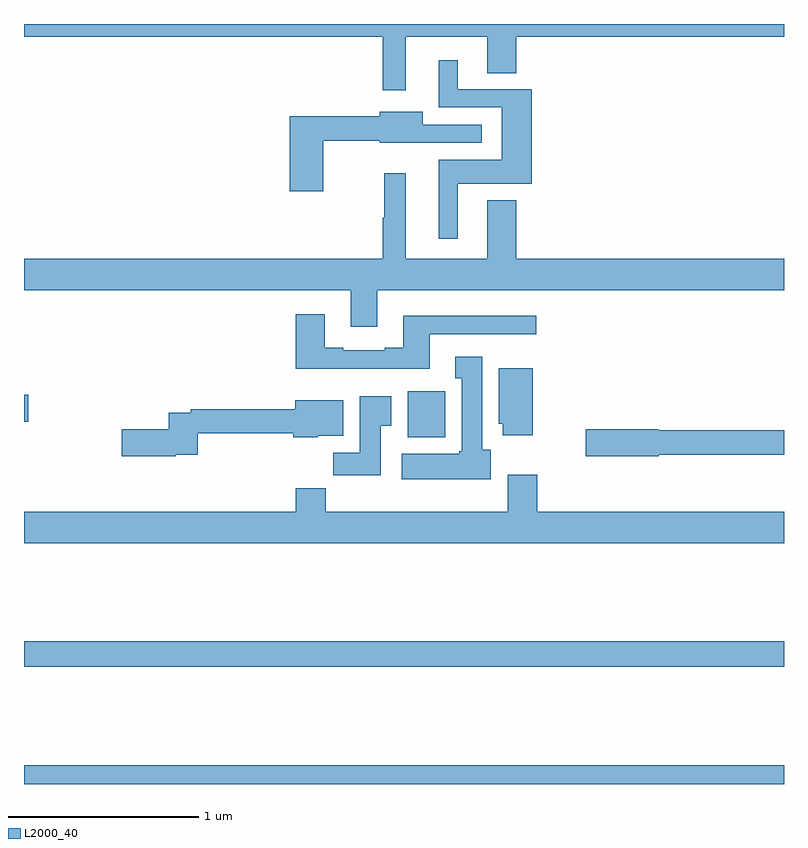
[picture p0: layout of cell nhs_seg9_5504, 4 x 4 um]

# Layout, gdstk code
import gdstk
lib = gdstk.Library(unit=1e-6, precision=1e-09)
def R(c, l, rs):  # rectangles x0, y0, x1, y1
    for r in rs: c.add(gdstk.rectangle(r[:2], r[2:], *l))
def P(c, l, *ps):  # polygons
    for p in ps: c.add(gdstk.Polygon(p, *l))
L2000_40 = (2000, 40)

nhs_seg9_5504 = lib.new_cell('nhs_seg9_5504')
R(nhs_seg9_5504, L2000_40, [(431,1180.5,435,1180.6), (431,1181.116,435,1181.252), (433.019,1182.326,433.216,1182.568), (431,1182.406,431.023,1182.548)])
P(nhs_seg9_5504, L2000_40, [(433.009,1184.432),(433.439,1184.432),(433.439,1184.242),(433.592,1184.242),(433.592,1184.432),(435,1184.432),(435,1184.5),(431,1184.5),(431,1184.432),(432.888,1184.432),(432.888,1184.151),(433.009,1184.151)],
  [(433.282,1183.658),(433.673,1183.658),(433.673,1184.157),(433.282,1184.157),(433.282,1184.308),(433.184,1184.308),(433.184,1184.061),(433.514,1184.061),(433.514,1183.786),(433.184,1183.786),(433.184,1183.371),(433.282,1183.371)],
  [(432.576,1183.885),(432.872,1183.885),(432.872,1183.874),(433.095,1183.874),(433.095,1183.875),(433.408,1183.875),(433.408,1183.971),(433.099,1183.971),(433.099,1184.038),(432.872,1184.038),(432.872,1184.014),(432.398,1184.014),(432.398,1183.62),(432.576,1183.62)],
  [(432.859,1183.1),(435,1183.1),(435,1183.264),(433.592,1183.264),(433.592,1183.573),(433.439,1183.573),(433.439,1183.264),(433.009,1183.264),(433.009,1183.714),(432.895,1183.714),(432.895,1183.481),(432.888,1183.481),(432.888,1183.264),(431,1183.264),(431,1183.1),(432.719,1183.1),(432.719,1182.906),(432.859,1182.906)],
  [(433.135,1182.867),(433.696,1182.867),(433.696,1182.964),(432.995,1182.964),(432.995,1182.796),(432.899,1182.796),(432.899,1182.783),(432.679,1182.783),(432.679,1182.796),(432.583,1182.796),(432.583,1182.973),(432.431,1182.973),(432.431,1182.686),(433.135,1182.686)],
  [(433.456,1182.258),(433.411,1182.258),(433.411,1182.748),(433.271,1182.748),(433.271,1182.635),(433.304,1182.635),(433.304,1182.252),(433.291,1182.252),(433.291,1182.238),(432.987,1182.238),(432.987,1182.104),(433.456,1182.104)],
  [(433.678,1182.688),(433.499,1182.688),(433.499,1182.396),(433.52,1182.396),(433.52,1182.336),(433.678,1182.336)],
  [(432.877,1182.385),(432.934,1182.385),(432.934,1182.541),(432.767,1182.541),(432.767,1182.244),(432.628,1182.244),(432.628,1182.126),(432.877,1182.126)],
  [(431.798,1182.233),(431.915,1182.233),(431.915,1182.345),(432.416,1182.345),(432.416,1182.326),(432.546,1182.326),(432.546,1182.332),(432.679,1182.332),(432.679,1182.52),(432.428,1182.52),(432.428,1182.473),(431.878,1182.473),(431.878,1182.453),(431.762,1182.453),(431.762,1182.368),(431.514,1182.368),(431.514,1182.226),(431.798,1182.226)],
  [(434.34,1182.234),(435,1182.234),(435,1182.362),(434.34,1182.362),(434.34,1182.368),(433.956,1182.368),(433.956,1182.226),(434.34,1182.226)],
  [(435,1181.932),(433.7,1181.932),(433.7,1182.127),(433.547,1182.127),(433.547,1181.932),(432.587,1181.932),(432.587,1182.056),(432.431,1182.056),(432.431,1181.932),(431,1181.932),(431,1181.768),(435,1181.768)])

lib.write_gds('nhs_seg9_5504.gds')
